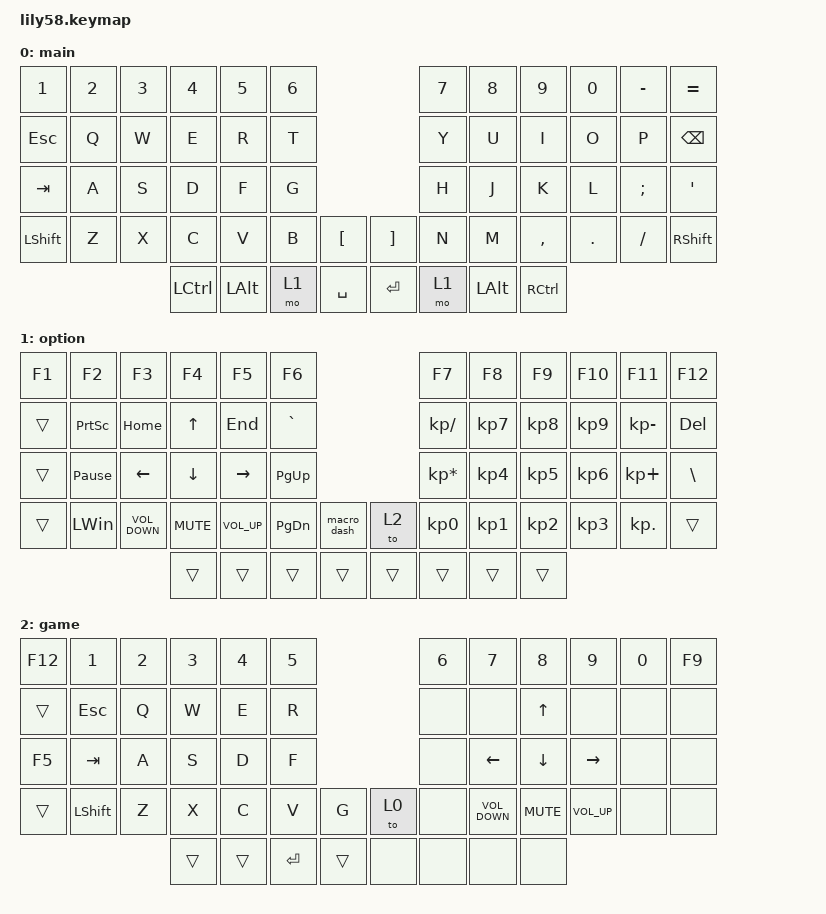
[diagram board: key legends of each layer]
/*
 * Copyright (c) 2020 The ZMK Contributors
 *
 * SPDX-License-Identifier: MIT
 */

#include <behaviors.dtsi>
#include <dt-bindings/zmk/bt.h>
#include <dt-bindings/zmk/keys.h>

/ {
    combos {
        compatible = "zmk,combos";

        combo_bt_0 {
            key-positions = <1 0 2 3>;
            bindings = <&bt BT_SEL 0>;
            require-prior-idle-ms = <500>;
        };

        combo_bt_clear {
            bindings = <&bt BT_CLR_ALL>;
            key-positions = <2 3 4 5 6 7 8 9>;
            require-prior-idle-ms = <500>;
        };

        combo_bt_1 {
            bindings = <&bt BT_SEL 1>;
            key-positions = <10 11 9 8>;
            require-prior-idle-ms = <500>;
        };
    };

    macros {
        macro_dash: dash {
            compatible = "zmk,behavior-macro";
            #binding-cells = <0>;
            wait-ms = <30>;
            tap-ms = <30>;
            bindings =
                <&macro_press>,
                <&kp LALT>,
                <&macro_tap>,
                <&kp KP_N0 &kp KP_N1 &kp KP_N5 &kp KP_N1>,
                <&macro_release>,
                <&kp LALT>;
        };
    };

    behaviors {
        ss_hs_modmorph: ss_hs_modmorph {
            compatible = "zmk,behavior-mod-morph";
            label = "SS_HS_MODMORPH";
            bindings = <&kp M>, <&kp RIGHT_BRACKET>;

            #binding-cells = <0>;
            mods = <(MOD_LSFT|MOD_RSFT)>;
        };

        tap_dance: tap_dance {
            compatible = "zmk,behavior-tap-dance";
            label = "TAP_DANCE";
            #binding-cells = <0>;
            tapping-term-ms = <200>;
            bindings = <&none>;
        };

        ht: ht {
            compatible = "zmk,behavior-hold-tap";
            #binding-cells = <2>;
            flavor = "balanced";
            tapping-term-ms = <200>;
            bindings = <&mo>, <&to>;
        };
    };

    keymap {
        compatible = "zmk,keymap";

        main {
            // ------------------------------------------------------------------------------------------------------------
            // |  ESC  |  1  |  2  |  3   |  4   |  5   |                   |  6   |  7    |  8    |  9   |   0   |   `   |
            // |  TAB  |  Q  |  W  |  E   |  R   |  T   |                   |  Y   |  U    |  I    |  O   |   P   |   -   |
            // |  CTRL |  A  |  S  |  D   |  F   |  G   |                   |  H   |  J    |  K    |  L   |   ;   |   '   |
            // | SHIFT |  Z  |  X  |  C   |  V   |  B   |   "["  |  |  "]"  |  N   |  M    |  ,    |  .   |   /   | SHIFT |
            //                     | ALT  | GUI  | LOWER|  SPACE |  | ENTER | RAISE| BSPC  | GUI   |

            bindings = <
&kp N1     &kp N2  &kp N3  &kp N4     &kp N5    &kp N6                          &kp N7  &kp N8    &kp N9     &kp N0   &kp MINUS  &kp EQUAL
&kp ESC    &kp Q   &kp W   &kp E      &kp R     &kp T                           &kp Y   &kp U     &kp I      &kp O    &kp P      &kp BACKSPACE
&kp TAB    &kp A   &kp S   &kp D      &kp F     &kp G                           &kp H   &kp J     &kp K      &kp L    &kp SEMI   &kp SQT
&kp LSHFT  &kp Z   &kp X   &kp C      &kp V     &kp B   &kp LBKT     &kp RBKT   &kp N   &kp M     &kp COMMA  &kp DOT  &kp FSLH   &kp RSHFT
                           &kp LCTRL  &kp LALT  &mo 1   &kp SPACE    &kp ENTER  &mo 1   &kp LALT  &kp RCTRL
            >;
        };

        option {
            bindings = <
&kp F1  &kp F2           &kp F3             &kp F4      &kp F5           &kp F6                                &kp F7           &kp F8     &kp F9     &kp F10    &kp F11       &kp F12
&trans  &kp PRINTSCREEN  &kp HOME           &kp UP      &kp END          &kp GRAVE                             &kp KP_DIVIDE    &kp KP_N7  &kp KP_N8  &kp KP_N9  &kp KP_MINUS  &kp DEL
&trans  &kp PAUSE_BREAK  &kp LEFT           &kp DOWN    &kp RIGHT        &kp PAGE_UP                           &kp KP_MULTIPLY  &kp KP_N4  &kp KP_N5  &kp KP_N6  &kp KP_PLUS   &kp BACKSLASH
&trans  &kp LEFT_WIN     &kp C_VOLUME_DOWN  &kp C_MUTE  &kp C_VOLUME_UP  &kp PAGE_DOWN  &macro_dash    &to 2   &kp KP_N0        &kp KP_N1  &kp KP_N2  &kp KP_N3  &kp KP_DOT    &trans
                                            &trans      &trans           &trans         &trans         &trans  &trans           &trans     &trans
            >;
        };

        game {
            bindings = <
&kp F12  &kp N1      &kp N2  &kp N3  &kp N4  &kp N5                      &kp N6  &kp N7             &kp N8      &kp N9           &kp N0  &kp F9
&trans   &kp ESC     &kp Q   &kp W   &kp E   &kp R                       &none   &none              &kp UP      &none            &none   &none
&kp F5   &kp TAB     &kp A   &kp S   &kp D   &kp F                       &none   &kp LEFT           &kp DOWN    &kp RIGHT        &none   &none
&trans   &kp LSHIFT  &kp Z   &kp X   &kp C   &kp V      &kp G     &to 0  &none   &kp C_VOLUME_DOWN  &kp C_MUTE  &kp C_VOLUME_UP  &none   &none
                             &trans  &trans  &kp ENTER  &trans    &none  &none   &none              &none
            >;
        };
    };
};
